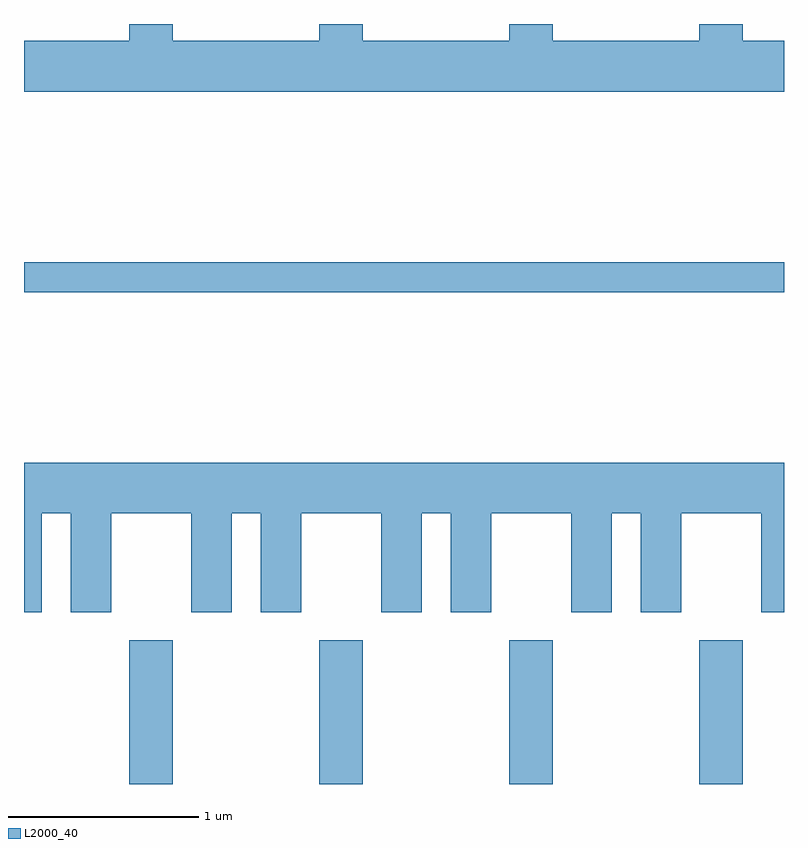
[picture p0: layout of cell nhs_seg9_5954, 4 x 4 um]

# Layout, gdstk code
import gdstk
lib = gdstk.Library(unit=1e-6, precision=1e-09)
def R(c, l, rs):  # rectangles x0, y0, x1, y1
    for r in rs: c.add(gdstk.rectangle(r[:2], r[2:], *l))
def A(c, l, x, y, w, h, nx, ny, dx, dy):  # array of equal rectangles
    R(c, l, [(x+i*dx, y+j*dy, x+i*dx+w, y+j*dy+h) for i in range(nx) for j in range(ny)])
def P(c, l, *ps):  # polygons
    for p in ps: c.add(gdstk.Polygon(p, *l))
L2000_40 = (2000, 40)

nhs_seg9_5954 = lib.new_cell('nhs_seg9_5954')
A(nhs_seg9_5954, L2000_40, 362.166, 1950.432, 0.228, 0.757, 4, 1, 1, 0)
R(nhs_seg9_5954, L2000_40, [(361.611,1953.021,365.611,1953.179)])
P(nhs_seg9_5954, L2000_40, [(365.611,1954.344),(365.394,1954.344),(365.394,1954.432),(365.166,1954.432),(365.166,1954.344),(364.394,1954.344),(364.394,1954.432),(364.166,1954.432),(364.166,1954.344),(363.394,1954.344),(363.394,1954.432),(363.166,1954.432),(363.166,1954.344),(362.394,1954.344),(362.394,1954.432),(362.166,1954.432),(362.166,1954.344),(361.611,1954.344),(361.611,1954.076),(365.611,1954.076)],
  [(361.704,1951.856),(361.856,1951.856),(361.856,1951.336),(362.069,1951.336),(362.069,1951.856),(362.491,1951.856),(362.491,1951.336),(362.704,1951.336),(362.704,1951.856),(362.856,1951.856),(362.856,1951.336),(363.069,1951.336),(363.069,1951.856),(363.491,1951.856),(363.491,1951.336),(363.704,1951.336),(363.704,1951.856),(363.856,1951.856),(363.856,1951.336),(364.069,1951.336),(364.069,1951.856),(364.491,1951.856),(364.491,1951.336),(364.704,1951.336),(364.704,1951.856),(364.856,1951.856),(364.856,1951.336),(365.069,1951.336),(365.069,1951.856),(365.491,1951.856),(365.491,1951.336),(365.611,1951.336),(365.611,1952.124),(361.611,1952.124),(361.611,1951.336),(361.704,1951.336)])

lib.write_gds('nhs_seg9_5954.gds')
